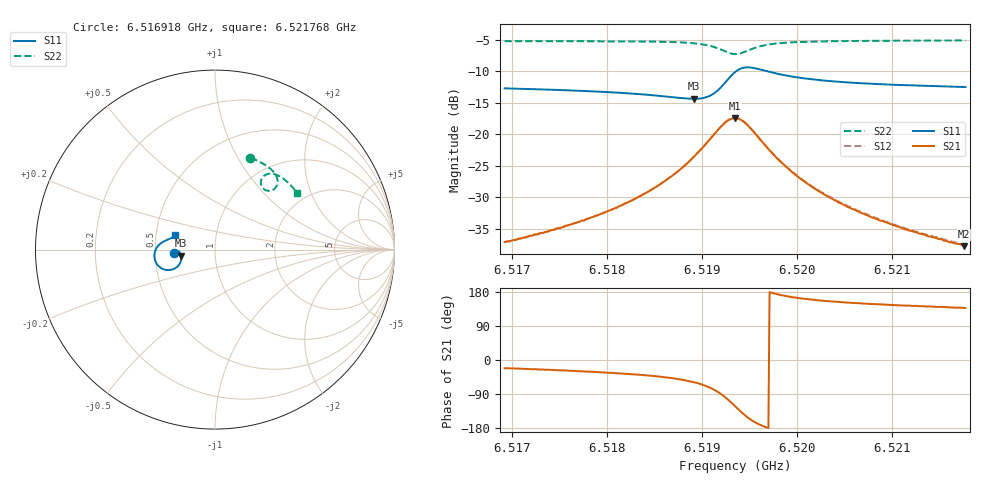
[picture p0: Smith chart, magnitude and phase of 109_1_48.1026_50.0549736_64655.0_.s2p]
#  HZ  S  RI  R  50.00
! Rohde & Schwarz Vector Network Analyzer
! Rohde-Schwarz,ZNB20-2Port,1311601062101988,3.16
! Created: UTC 12/23/2023, 3:45:33 AM
! freq[Hz]  re:S11  im:S11  re:S21  im:S21  re:S12  im:S12  re:S22  im:S22
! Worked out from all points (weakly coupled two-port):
!   401 points, 6.516918 GHz to 6.521768 GHz, reference 50 ohm
!   highest |S21| = -17.43 dB at 6.519343 GHz (marker M1); lowest = -37.8 dB at 6.521756 GHz (marker M2)
!   lowest |S11| = -14.4 dB at 6.518907 GHz (marker M3), VSWR 1.47, Z = 34.1 - j2.38 ohm
!   |S11| at or under -10 dB: start of sweep to 6.519354 GHz; 6.519686 GHz to end of sweep
!   |S22| runs from -7.3 to -5.1 dB; largest |S21 - S12| = 0.0041
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6.5169182e9  -0.231 -0.0188  0.013 -0.0052  0.013 -0.00457  0.1975 0.5113
6.5173426e9  -0.2264 -0.0126  0.015 -0.00723  0.0153 -0.0068  0.2289 0.4985
6.5177306e9  -0.2212 -0.0078  0.0179 -0.0102  0.0181 -0.00973  0.2577 0.4843
6.518155e9  -0.213 -0.00545  0.0223 -0.0161  0.0228 -0.0154  0.2895 0.4649
6.518543e9  -0.2019 -0.00957  0.0286 -0.0273  0.0295 -0.0265  0.3197 0.4403
6.5187371e9  -0.1946 -0.018  0.0325 -0.0385  0.0339 -0.0378  0.3344 0.4225
6.5189068e9  -0.1885 -0.0337  0.0345 -0.0561  0.0365 -0.0551  0.3459 0.4
6.5190281e9  -0.1879 -0.0543  0.0314 -0.0761  0.034 -0.0757  0.3491 0.3771
6.5191129e9  -0.1948 -0.0753  0.0221 -0.0953  0.0248 -0.0952  0.3445 0.3569
6.5192463e9  -0.2366 -0.1105  -0.0206 -0.123  -0.0172 -0.1248  0.3125 0.329
6.5193433e9  -0.2929 -0.1068  -0.0709 -0.1143  -0.0682 -0.1171  0.2741 0.336
6.5193918e9  -0.3172 -0.0886  -0.0907 -0.0957  -0.0887 -0.0991  0.2604 0.3516
6.5194525e9  -0.3345 -0.0579  -0.1028 -0.0672  -0.1015 -0.0707  0.2553 0.3751
6.5195616e9  -0.3337 -0.00889  -0.0968 -0.0253  -0.0967 -0.0284  0.2696 0.4072
6.5196707e9  -0.3177 0.0199  -0.0801 -0.0034  -0.0805 -0.00571  0.2921 0.4206
6.5199011e9  -0.2877 0.0445  -0.0522 0.0113  -0.0531 0.0099  0.3307 0.4207
6.5201557e9  -0.2678 0.0539  -0.0358 0.0135  -0.0365 0.0127  0.3595 0.4092
6.5205438e9  -0.2505 0.0612  -0.0231 0.0126  -0.0238 0.0122  0.3908 0.3872
6.5209682e9  -0.2387 0.0675  -0.0161 0.0111  -0.0166 0.0107  0.4182 0.3623
6.5211622e9  -0.2346 0.0702  -0.014 0.0102  -0.0145 0.0102  0.429 0.3507
6.5217563e9  -0.2242 0.0784  -0.00952 0.00875  -0.0101 0.00867  0.4589 0.3141
6.5217684e9  -0.224 0.0786  -0.00954 0.00875  -0.00997 0.00876  0.4596 0.3133
